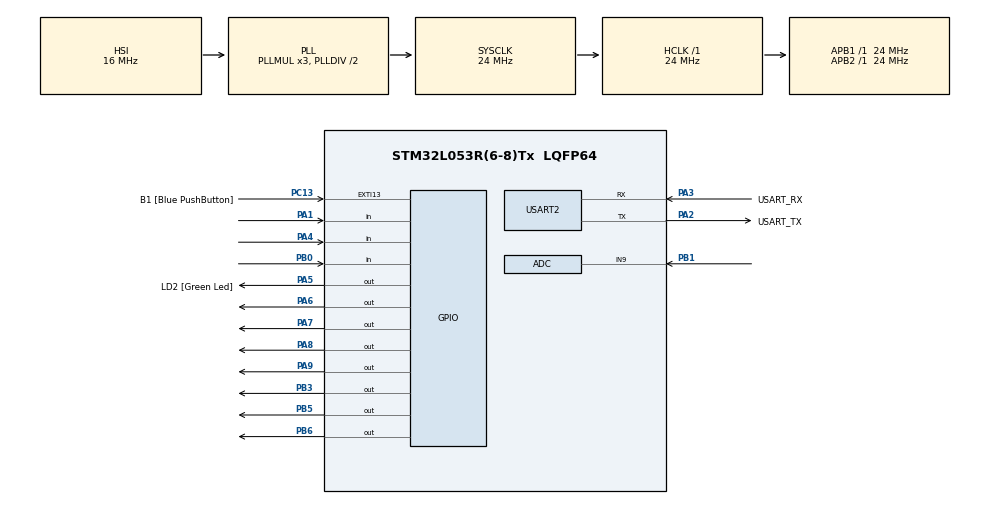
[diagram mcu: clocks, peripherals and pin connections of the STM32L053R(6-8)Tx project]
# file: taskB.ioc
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Mcu.Family=STM32L0
Mcu.Name=STM32L053R(6-8)Tx
Mcu.Package=LQFP64
NVIC.TIM6_DAC_IRQn=true\:0\:0\:false\:false\:true\:true\:true\:true
PA1.Signal=GPIO_Input
PA13.GPIO_Label=TMS
PA13.Mode=Serial_Wire
PA13.Signal=SYS_SWDIO
PA14.GPIO_Label=TCK
PA14.Mode=Serial_Wire
PA14.Signal=SYS_SWCLK
PA2.GPIO_Label=USART_TX
PA2.Mode=Asynchronous
PA2.Signal=USART2_TX
PA3.GPIO_Label=USART_RX
PA3.Mode=Asynchronous
PA3.Signal=USART2_RX
PA4.Signal=GPIO_Input
PA5.GPIO_Label=LD2 [Green Led]
PA5.PinState=GPIO_PIN_SET
PA5.Signal=GPIO_Output
PA6.GPIO_ModeDefaultOutputPP=GPIO_MODE_OUTPUT_OD
PA6.GPIO_PuPd=GPIO_NOPULL
PA6.PinState=GPIO_PIN_SET
PA6.Signal=GPIO_Output
PA7.GPIO_ModeDefaultOutputPP=GPIO_MODE_OUTPUT_OD
PA7.GPIO_PuPd=GPIO_NOPULL
PA7.PinState=GPIO_PIN_SET
PA7.Signal=GPIO_Output
PA8.Signal=GPIO_Output
PA9.Signal=GPIO_Output
PB0.Signal=GPIO_Input
PB1.Mode=IN9
PB1.Signal=ADC_IN9
PB3.GPIO_ModeDefaultOutputPP=GPIO_MODE_OUTPUT_OD
PB3.GPIO_PuPd=GPIO_NOPULL
PB3.PinState=GPIO_PIN_SET
PB3.Signal=GPIO_Output
PB5.Signal=GPIO_Output
PB6.GPIO_ModeDefaultOutputPP=GPIO_MODE_OUTPUT_OD
PB6.GPIO_PuPd=GPIO_NOPULL
PB6.PinState=GPIO_PIN_SET
PB6.Signal=GPIO_Output
PC13.GPIO_Label=B1 [Blue PushButton]
PC13.GPIO_ModeDefaultEXTI=GPIO_MODE_IT_FALLING
PC13.Signal=GPXTI13
PC14-OSC32_IN.Mode=LSE-External-Oscillator
PC14-OSC32_IN.Signal=RCC_OSC32_IN
PC15-OSC32_OUT.Mode=LSE-External-Oscillator
PC15-OSC32_OUT.Signal=RCC_OSC32_OUT
PH0-OSC_IN.Mode=HSE-External-Clock-Source
PH0-OSC_IN.Signal=RCC_OSC_IN
PH1-OSC_OUT.Signal=RCC_OSC_OUT
ProjectManager.HeapSize=0x200
ProjectManager.StackSize=0x400
ProjectManager.TargetToolchain=STM32CubeIDE
RCC.AHBFreq_Value=24000000
RCC.APB1Freq_Value=24000000
RCC.APB1TimFreq_Value=24000000
RCC.APB2Freq_Value=24000000
RCC.APB2TimFreq_Value=24000000
RCC.HCLKFreq_Value=24000000
RCC.HSE_VALUE=8000000
RCC.HSI16_VALUE=16000000
RCC.HSI48_VALUE=48000000
RCC.HSI_VALUE=16000000
RCC.MSI_VALUE=2097000
RCC.SYSCLKFreq_VALUE=24000000
RCC.SYSCLKSource=RCC_SYSCLKSOURCE_PLLCLK
RCC.VCOOutputFreq_Value=48000000
TIM6.Period=999
TIM6.Prescaler=23
USART2.VirtualMode-Asynchronous=VM_ASYNC
VP_TIM6_VS_ClockSourceINT.Mode=Enable_Timer
board=NUCLEO-L053R8

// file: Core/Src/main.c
/* USER CODE BEGIN Header */
/**
 ******************************************************************************
 * @file           : main.c
 * @brief          : Main program body
 ******************************************************************************
 * @attention
 *
 * Copyright (c) 2026 STMicroelectronics.
 * All rights reserved.
 *
 * This software is licensed under terms that can be found in the LICENSE file
 * in the root directory of this software component.
 * If no LICENSE file comes with this software, it is provided AS-IS.
 *
 ******************************************************************************
 */
/* USER CODE END Header */
#include "main.h"

/* USER CODE BEGIN Includes */
#include "KVSkill2026_BasicDriver.h"
/* USER CODE END Includes */

ADC_HandleTypeDef hadc;

TIM_HandleTypeDef htim6;

UART_HandleTypeDef huart2;

/* USER CODE BEGIN PV */
uint32_t t0, millis;
uint16_t highScore = 0;
uint8_t LED_Running_Pattern[8] = { 1, 2, 4, 8, 4, 2, 1, 0 };
uint8_t gameIndicator;
uint8_t LED_seq[99];

/* USER CODE END PV */

void SystemClock_Config(void);
static void MX_GPIO_Init(void);
static void MX_USART2_UART_Init(void);
static void MX_TIM6_Init(void);
static void MX_ADC_Init(void);
/* USER CODE BEGIN PFP */
void beep(uint8_t d, uint32_t delay);
void startupSequence(void);
void displayINFO(void);
void idleMode(void);
void sysOP(void);
uint32_t GetEntropy(void);
uint32_t GetRandom1to3(void);
void threeLEDs(uint8_t x);

/* USER CODE END PFP */

/* USER CODE BEGIN 0 */
void HAL_TIM_PeriodElapsedCallback(TIM_HandleTypeDef *htim) {
	displaySegment();

	if (gameIndicator) {
		if ((millis % 500) == 0)
			HAL_GPIO_TogglePin(LD2_GPIO_Port, LD2_Pin);
	}
	millis++;
}

void beep(uint8_t d, uint32_t delay) {
	for (; d > 0; d--) {
		BUZ(1);
		HAL_Delay(delay);
		BUZ(0);
		HAL_Delay(delay);
	}
}

void startupSequence(void) {
	for (uint8_t cycle = 0; cycle < 3; cycle++) {
		for (uint8_t d = 0; d < 8; d++) {
			switch (d) {
			case 0:
				multiplexChar("E");
				break;
			case 1:
				multiplexChar("EL");
				break;
			case 2:
				multiplexChar("ELE");
				break;
			case 3:
				multiplexChar("ELEC");
				break;
			case 4:
				multiplexChar("LEC");
				break;
			case 5:
				multiplexChar("EC");
				break;
			case 6:
				multiplexChar("C");
				break;
			case 7:
				multiplexClear();
				break;
			}
			HAL_Delay(100);
		}
		beep(1, 50);
	}
	beep(2, 50);
}

void displayINFO(void) {
	multiplexChar("SCRS");
	HAL_Delay(2000);
	multiplexCharNum("H=XX", highScore);
}

void idleMode(void) {
	if (HAL_GetTick() > t0) {
		static uint8_t index;
		t0 = HAL_GetTick() + 100;
		if (++index > 8)
			index = 0;
		LEDs(index);
	}
}
void sysOP(void) {
	if (S1 == LOW) {
		beep(2, 50);
		HAL_Delay(2000);
		gameIndicator = 1;
	} else {
		idleMode();
	}
}

uint32_t GetEntropy(void) {
	HAL_ADC_Start(&hadc);
	HAL_ADC_PollForConversion(&hadc, HAL_MAX_DELAY);
	return HAL_ADC_GetValue(&hadc);
}

uint32_t GetRandom1to3(void) {
	uint32_t entropy = GetEntropy();
	return (entropy % 3) + 1;
}

void threeLEDs(uint8_t x) {
	LED2(x & (1 << 1));
	LED3(x & (1 << 2));
	LED4(x & (1 << 3));
}

/* USER CODE END 0 */

int main(void) {

	/* MCU Configuration--------------------------------------------------------*/

	/* Reset of all peripherals, Initializes the Flash interface and the Systick. */
	HAL_Init();

	/* Configure the system clock */
	SystemClock_Config();

	/* Initialize all configured peripherals */
	MX_GPIO_Init();
	MX_USART2_UART_Init();
	MX_TIM6_Init();
	MX_ADC_Init();
	/* USER CODE BEGIN 2 */
	HAL_TIM_Base_Start_IT(&htim6);
	startupSequence();
	displayINFO();

	/* USER CODE END 2 */

	/* Infinite loop */
	while (1) {

		/* USER CODE BEGIN 3 */
		sysOP();
		while (gameIndicator) {
			static uint8_t index = 0; // Mewakili tahap (level) semasa
			uint8_t gameOver = 0;
			// 1. Generate sequence
			LED_seq[index] = 1 << GetRandom1to3(); // Menghasilkan 2, 4, atau 8 (D2, D3, D4)

			// Paparkan Level (L=XX) sebelum sequence bermula
			multiplexCharNum("L=XX", index + 1);
			HAL_Delay(1000);

			// 2. Tunjuk Sequence
			for (uint8_t j = 0; j <= index; j++) {
				threeLEDs(LED_seq[j]);
				beep(1, 50); 	// Short beep bersama LED
				HAL_Delay(450); // 500ms LED ON (termasuk beep)
				threeLEDs(0);
				HAL_Delay(300); // 300ms OFF interval
			}
			// 3. Mod Input Pengguna (User Input Verification)
			for (uint8_t step = 0; step <= index; step++) {
				uint32_t startTime = HAL_GetTick();
				uint8_t btnPressed = 0;
				uint8_t correctBtn = LED_seq[step];

				// Tunggu input pengguna dengan had masa 2 saat per LED
				while ((HAL_GetTick() - startTime) < 2000) {
					if (S1 == LOW) {
						btnPressed = 2;
						break;
					}
					if (S2 == LOW) {
						btnPressed = 4;
						break;
					}
					if (S3 == LOW) {
						btnPressed = 8;
						break;
					}
				}

				// Pengesahan Input
				if (btnPressed == correctBtn) {
					beep(1, 50); // Input betul: short beep

					// Debounce: Tunggu sehingga butang dilepaskan
					while (S1 == LOW || S2 == LOW || S3 == LOW)
						;
					HAL_Delay(50);
				} else {
					gameOver = 1; // Input salah atau timeout
					break;
				}
			}

			// 4. Syarat Permainan Tamat (Game Over Condition)
			if (gameOver) {
				gameIndicator = 0; // Hentikan kelipan D1 (Game Indicator)
				LEDs(0); // Matikan semua LED sebagai persediaan

				// Kelip semua LED 3 kali serentak
				for (uint8_t k = 0; k < 3; k++) {
					LEDs(15); // D1 hingga D4 ON
					HAL_Delay(300);
					LEDs(0);
					HAL_Delay(300);
				}

				beep(1, 1000); // Satu long beep menandakan kegagalan

				// Papar tahap yang dicapai
				multiplexCharNum("L=XX", index + 1);
				HAL_Delay(1000);

				// Kemas kini High Score (H=XX)
				if ((index + 1) > highScore) {
					highScore = index + 1;
				}
				multiplexCharNum("H=XX", highScore);
				HAL_Delay(1000);

				index = 0; // Reset sequence untuk permainan baharu
			} else {
				// Ke tahap seterusnya
				index++;
				if (index >= 99)
					index = 0; // Limit maksimum
				HAL_Delay(1000);
			}

		}

	}
	/* USER CODE END 3 */
}

void SystemClock_Config(void) {
	RCC_OscInitTypeDef RCC_OscInitStruct = { 0 };
	RCC_ClkInitTypeDef RCC_ClkInitStruct = { 0 };
	RCC_PeriphCLKInitTypeDef PeriphClkInit = { 0 };

	/** Configure the main internal regulator output voltage
	 */
	__HAL_PWR_VOLTAGESCALING_CONFIG(PWR_REGULATOR_VOLTAGE_SCALE1);

	/** Initializes the RCC Oscillators according to the specified parameters
	 * in the RCC_OscInitTypeDef structure.
	 */
	RCC_OscInitStruct.OscillatorType = RCC_OSCILLATORTYPE_HSI;
	RCC_OscInitStruct.HSIState = RCC_HSI_ON;
	RCC_OscInitStruct.HSICalibrationValue = RCC_HSICALIBRATION_DEFAULT;
	RCC_OscInitStruct.PLL.PLLState = RCC_PLL_ON;
	RCC_OscInitStruct.PLL.PLLSource = RCC_PLLSOURCE_HSI;
	RCC_OscInitStruct.PLL.PLLMUL = RCC_PLLMUL_3;
	RCC_OscInitStruct.PLL.PLLDIV = RCC_PLLDIV_2;
	if (HAL_RCC_OscConfig(&RCC_OscInitStruct) != HAL_OK) {
		Error_Handler();
	}

	/** Initializes the CPU, AHB and APB buses clocks
	 */
	RCC_ClkInitStruct.ClockType = RCC_CLOCKTYPE_HCLK | RCC_CLOCKTYPE_SYSCLK
			| RCC_CLOCKTYPE_PCLK1 | RCC_CLOCKTYPE_PCLK2;
	RCC_ClkInitStruct.SYSCLKSource = RCC_SYSCLKSOURCE_PLLCLK;
	RCC_ClkInitStruct.AHBCLKDivider = RCC_SYSCLK_DIV1;
	RCC_ClkInitStruct.APB1CLKDivider = RCC_HCLK_DIV1;
	RCC_ClkInitStruct.APB2CLKDivider = RCC_HCLK_DIV1;

	if (HAL_RCC_ClockConfig(&RCC_ClkInitStruct, FLASH_LATENCY_1) != HAL_OK) {
		Error_Handler();
	}
	PeriphClkInit.PeriphClockSelection = RCC_PERIPHCLK_USART2;
	PeriphClkInit.Usart2ClockSelection = RCC_USART2CLKSOURCE_PCLK1;
	if (HAL_RCCEx_PeriphCLKConfig(&PeriphClkInit) != HAL_OK) {
		Error_Handler();
	}
}

static void MX_ADC_Init(void) {

	ADC_ChannelConfTypeDef sConfig = { 0 };

	/** Configure the global features of the ADC (Clock, Resolution, Data Alignment and number of conversion)
	 */
	hadc.Instance = ADC1;
	hadc.Init.OversamplingMode = DISABLE;
	hadc.Init.ClockPrescaler = ADC_CLOCK_SYNC_PCLK_DIV2;
	hadc.Init.Resolution = ADC_RESOLUTION_12B;
	hadc.Init.SamplingTime = ADC_SAMPLETIME_1CYCLE_5;
	hadc.Init.ScanConvMode = ADC_SCAN_DIRECTION_FORWARD;
	hadc.Init.DataAlign = ADC_DATAALIGN_RIGHT;
	hadc.Init.ContinuousConvMode = DISABLE;
	hadc.Init.DiscontinuousConvMode = DISABLE;
	hadc.Init.ExternalTrigConvEdge = ADC_EXTERNALTRIGCONVEDGE_NONE;
	hadc.Init.ExternalTrigConv = ADC_SOFTWARE_START;
	hadc.Init.DMAContinuousRequests = DISABLE;
	hadc.Init.EOCSelection = ADC_EOC_SINGLE_CONV;
	hadc.Init.Overrun = ADC_OVR_DATA_PRESERVED;
	hadc.Init.LowPowerAutoWait = DISABLE;
	hadc.Init.LowPowerFrequencyMode = DISABLE;
	hadc.Init.LowPowerAutoPowerOff = DISABLE;
	if (HAL_ADC_Init(&hadc) != HAL_OK) {
		Error_Handler();
	}

	/** Configure for the selected ADC regular channel to be converted.
	 */
	sConfig.Channel = ADC_CHANNEL_9;
	sConfig.Rank = ADC_RANK_CHANNEL_NUMBER;
	if (HAL_ADC_ConfigChannel(&hadc, &sConfig) != HAL_OK) {
		Error_Handler();
	}

}

static void MX_TIM6_Init(void) {

	TIM_MasterConfigTypeDef sMasterConfig = { 0 };

	htim6.Instance = TIM6;
	htim6.Init.Prescaler = 23;
	htim6.Init.CounterMode = TIM_COUNTERMODE_UP;
	htim6.Init.Period = 999;
	htim6.Init.AutoReloadPreload = TIM_AUTORELOAD_PRELOAD_DISABLE;
	if (HAL_TIM_Base_Init(&htim6) != HAL_OK) {
		Error_Handler();
	}
	sMasterConfig.MasterOutputTrigger = TIM_TRGO_RESET;
	sMasterConfig.MasterSlaveMode = TIM_MASTERSLAVEMODE_DISABLE;
	if (HAL_TIMEx_MasterConfigSynchronization(&htim6, &sMasterConfig)
			!= HAL_OK) {
		Error_Handler();
	}

}

static void MX_USART2_UART_Init(void) {

	huart2.Instance = USART2;
	huart2.Init.BaudRate = 115200;
	huart2.Init.WordLength = UART_WORDLENGTH_8B;
	huart2.Init.StopBits = UART_STOPBITS_1;
	huart2.Init.Parity = UART_PARITY_NONE;
	huart2.Init.Mode = UART_MODE_TX_RX;
	huart2.Init.HwFlowCtl = UART_HWCONTROL_NONE;
	huart2.Init.OverSampling = UART_OVERSAMPLING_16;
	huart2.Init.OneBitSampling = UART_ONE_BIT_SAMPLE_DISABLE;
	huart2.AdvancedInit.AdvFeatureInit = UART_ADVFEATURE_NO_INIT;
	if (HAL_UART_Init(&huart2) != HAL_OK) {
		Error_Handler();
	}

}

static void MX_GPIO_Init(void) {
	GPIO_InitTypeDef GPIO_InitStruct = { 0 };

	/* GPIO Ports Clock Enable */
	__HAL_RCC_GPIOC_CLK_ENABLE();
	__HAL_RCC_GPIOH_CLK_ENABLE();
	__HAL_RCC_GPIOA_CLK_ENABLE();
	__HAL_RCC_GPIOB_CLK_ENABLE();

	/*Configure GPIO pin Output Level */
	HAL_GPIO_WritePin(GPIOA, LD2_Pin | GPIO_PIN_6 | GPIO_PIN_7, GPIO_PIN_SET);

	/*Configure GPIO pin Output Level */
	HAL_GPIO_WritePin(GPIOA, GPIO_PIN_8 | GPIO_PIN_9, GPIO_PIN_RESET);

	/*Configure GPIO pin Output Level */
	HAL_GPIO_WritePin(GPIOB, GPIO_PIN_3 | GPIO_PIN_6, GPIO_PIN_SET);

	/*Configure GPIO pin Output Level */
	HAL_GPIO_WritePin(GPIOB, GPIO_PIN_5, GPIO_PIN_RESET);

	/*Configure GPIO pin : B1_Pin */
	GPIO_InitStruct.Pin = B1_Pin;
	GPIO_InitStruct.Mode = GPIO_MODE_IT_FALLING;
	GPIO_InitStruct.Pull = GPIO_NOPULL;
	HAL_GPIO_Init(B1_GPIO_Port, &GPIO_InitStruct);

	/*Configure GPIO pins : PA1 PA4 */
	GPIO_InitStruct.Pin = GPIO_PIN_1 | GPIO_PIN_4;
	GPIO_InitStruct.Mode = GPIO_MODE_INPUT;
	GPIO_InitStruct.Pull = GPIO_NOPULL;
	HAL_GPIO_Init(GPIOA, &GPIO_InitStruct);

	/*Configure GPIO pins : LD2_Pin PA8 PA9 */
	GPIO_InitStruct.Pin = LD2_Pin | GPIO_PIN_8 | GPIO_PIN_9;
	GPIO_InitStruct.Mode = GPIO_MODE_OUTPUT_PP;
	GPIO_InitStruct.Pull = GPIO_NOPULL;
	GPIO_InitStruct.Speed = GPIO_SPEED_FREQ_LOW;
	HAL_GPIO_Init(GPIOA, &GPIO_InitStruct);

	/*Configure GPIO pins : PA6 PA7 */
	GPIO_InitStruct.Pin = GPIO_PIN_6 | GPIO_PIN_7;
	GPIO_InitStruct.Mode = GPIO_MODE_OUTPUT_OD;
	GPIO_InitStruct.Pull = GPIO_NOPULL;
	GPIO_InitStruct.Speed = GPIO_SPEED_FREQ_LOW;
	HAL_GPIO_Init(GPIOA, &GPIO_InitStruct);

	/*Configure GPIO pin : PB0 */
	GPIO_InitStruct.Pin = GPIO_PIN_0;
	GPIO_InitStruct.Mode = GPIO_MODE_INPUT;
	GPIO_InitStruct.Pull = GPIO_NOPULL;
	HAL_GPIO_Init(GPIOB, &GPIO_InitStruct);

	/*Configure GPIO pins : PB3 PB6 */
	GPIO_InitStruct.Pin = GPIO_PIN_3 | GPIO_PIN_6;
	GPIO_InitStruct.Mode = GPIO_MODE_OUTPUT_OD;
	GPIO_InitStruct.Pull = GPIO_NOPULL;
	GPIO_InitStruct.Speed = GPIO_SPEED_FREQ_LOW;
	HAL_GPIO_Init(GPIOB, &GPIO_InitStruct);

	/*Configure GPIO pin : PB5 */
	GPIO_InitStruct.Pin = GPIO_PIN_5;
	GPIO_InitStruct.Mode = GPIO_MODE_OUTPUT_PP;
	GPIO_InitStruct.Pull = GPIO_NOPULL;
	GPIO_InitStruct.Speed = GPIO_SPEED_FREQ_LOW;
	HAL_GPIO_Init(GPIOB, &GPIO_InitStruct);

}

void Error_Handler(void) {
	__disable_irq();
	while (1) {
	}
}
